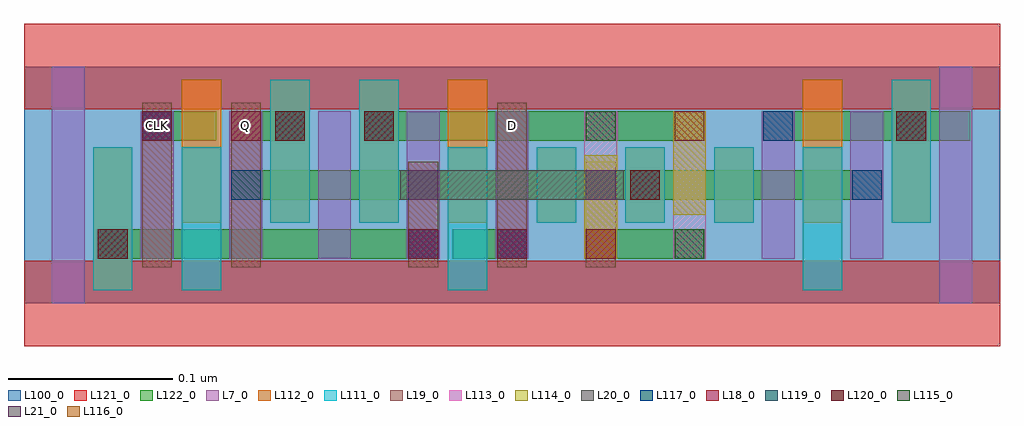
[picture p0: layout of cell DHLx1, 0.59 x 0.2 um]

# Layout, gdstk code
import gdstk
lib = gdstk.Library(unit=1e-6, precision=2.5e-10)
def R(c, l, rs):  # rectangles x0, y0, x1, y1
    for r in rs: c.add(gdstk.rectangle(r[:2], r[2:], *l))
def A(c, l, x, y, w, h, nx, ny, dx, dy):  # array of equal rectangles
    R(c, l, [(x+i*dx, y+j*dy, x+i*dx+w, y+j*dy+h) for i in range(nx) for j in range(ny)])
L7_0 = (7, 0)
L18_0 = (18, 0)
L19_0 = (19, 0)
L20_0 = (20, 0)
L21_0 = (21, 0)
L100_0 = (100, 0)
L111_0 = (111, 0)
L112_0 = (112, 0)
L113_0 = (113, 0)
L114_0 = (114, 0)
L115_0 = (115, 0)
L116_0 = (116, 0)
L117_0 = (117, 0)
L119_0 = (119, 0)
L120_0 = (120, 0)
L121_0 = (121, 0)
L122_0 = (122, 0)

dhlx1 = lib.new_cell('DHLx1')
A(dhlx1, L7_0, 0.071, 0.027, 0.02, 0.09, 5, 1, 0.054, 0)
R(dhlx1, L7_0, [(0.017,0,0.037,0.144), (0.557,0,0.577,0.144), (0.449,0.027,0.469,0.117), (0.503,0.027,0.523,0.117)])
A(dhlx1, L18_0, 0.234, 0.027, 0.018, 0.018, 3, 1, 0.054, 0)
R(dhlx1, L18_0, [(0.072,0.099,0.09,0.117), (0.126,0.099,0.144,0.117)])
R(dhlx1, L19_0, [(0.072,0.022,0.09,0.122), (0.126,0.022,0.144,0.122), (0.234,0.022,0.252,0.086), (0.288,0.022,0.306,0.122), (0.342,0.022,0.36,0.086)])
R(dhlx1, L20_0, [(0.229,0.063,0.365,0.081)])
R(dhlx1, L21_0, [(0.234,0.063,0.252,0.081), (0.342,0.063,0.36,0.081)])
R(dhlx1, L100_0, [(0,0,0.594,0.144)])
A(dhlx1, L111_0, 0.312, 0.049, 0.024, 0.046, 3, 1, 0.054, 0)
R(dhlx1, L111_0, [(0.042,0.008,0.066,0.095), (0.096,0.008,0.12,0.095), (0.258,0.008,0.282,0.095), (0.474,0.008,0.498,0.095), (0.15,0.049,0.174,0.136), (0.204,0.049,0.228,0.136), (0.528,0.049,0.552,0.136)])
A(dhlx1, L112_0, 0.096, 0.049, 0.024, 0.087, 4, 1, 0.054, 0)
A(dhlx1, L112_0, 0.312, 0.049, 0.024, 0.046, 3, 1, 0.054, 0)
R(dhlx1, L112_0, [(0.042,0.008,0.066,0.095), (0.474,0.049,0.498,0.136), (0.528,0.049,0.552,0.136)])
R(dhlx1, L113_0, [(0.341,0.027,0.361,0.117), (0.395,0.027,0.415,0.117)])
R(dhlx1, L114_0, [(0.341,0.027,0.361,0.09), (0.395,0.054,0.415,0.117)])
R(dhlx1, L115_0, [(0.396,0.027,0.414,0.045), (0.342,0.099,0.36,0.117)])
R(dhlx1, L116_0, [(0.342,0.027,0.36,0.045), (0.396,0.099,0.414,0.117)])
R(dhlx1, L117_0, [(0.234,0.027,0.252,0.045), (0.288,0.027,0.306,0.045), (0.126,0.063,0.144,0.081), (0.504,0.063,0.522,0.081), (0.072,0.099,0.09,0.117), (0.45,0.099,0.468,0.117)])
R(dhlx1, L119_0, [(0.045,0.027,0.063,0.045), (0.369,0.063,0.387,0.081), (0.153,0.099,0.171,0.117), (0.207,0.099,0.225,0.117), (0.531,0.099,0.549,0.117)])
R(dhlx1, L120_0, [(0.045,0.027,0.063,0.045), (0.369,0.063,0.387,0.081), (0.153,0.099,0.171,0.117), (0.207,0.099,0.225,0.117), (0.531,0.099,0.549,0.117)])
R(dhlx1, L121_0, [(0,-0.026,0.594,0.026), (0,0.118,0.594,0.17)])
R(dhlx1, L122_0, [(0.045,0.027,0.252,0.045), (0.261,0.027,0.306,0.045), (0.342,0.027,0.414,0.045), (0.126,0.063,0.522,0.081), (0.072,0.099,0.117,0.117), (0.126,0.099,0.171,0.117), (0.207,0.099,0.414,0.117), (0.45,0.099,0.576,0.117)])
dhlx1.add(gdstk.Label('Q', (0.135,0.108), layer=19, texttype=251))
dhlx1.add(gdstk.Label('D', (0.297,0.108), layer=19, texttype=251))
dhlx1.add(gdstk.Label('CLK', (0.081,0.108), layer=19, texttype=251))

lib.write_gds('DHLx1.gds')
